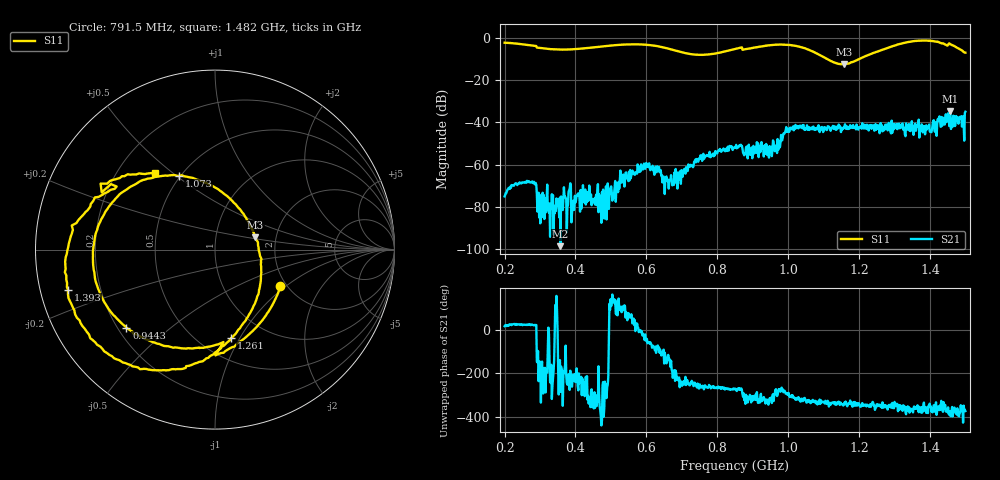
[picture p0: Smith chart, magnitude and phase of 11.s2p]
! NanoVNA-App
! Date: 2024-06-25 16:53:06
! Start: 200MHz Stop: 1.5GHz Points: 801
! S-Parameter data: F S11 S21 S12 S22
# Hz S RI R 50
!  Frequency  S11_Real  S11_Imag  S21_Real  S21_Imag  S12_Real  S12_Imag  S22_Real  S22_Imag
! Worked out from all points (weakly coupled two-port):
!   801 points, 200 MHz to 1.5 GHz, reference 50 ohm
!   highest |S21| = -34.69 dB at 1.458 GHz (marker M1); lowest = -98.6 dB at 357.6 MHz (marker M2)
!   lowest |S11| = -12.6 dB at 1.157 GHz (marker M3), VSWR 1.61, Z = 78 + j11.3 ohm
!   |S11| at or under -10 dB: 1.109 GHz to 1.201 GHz (92.45 MHz wide, 8 % of centre)
!   S12 and S22 are empty: the file has one direction only
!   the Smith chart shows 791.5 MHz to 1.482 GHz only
!   S11 on the Smith chart (normalised r, x): 791.5 MHz: 1.85, -0.92; 944.2 MHz: 0.23, -0.36; 1.073 GHz: 0.49, +0.51; 1.261 GHz: 0.70, -0.92; 1.393 GHz: 0.08, -0.13; 1.482 GHz: 0.36, +0.43
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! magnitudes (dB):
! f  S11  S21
! 200 MHz  -2.4  -75.0
! 273.1 MHz  -3.6  -68.4
! 299.1 MHz  -4.9  -77.6
! 357.6 MHz  -5.6  -98.6
! 417.8 MHz  -5.1  -78.7
! 487.6 MHz  -3.9  -85.9
! 581.9 MHz  -3.2  -60.9
! 633.9 MHz  -4.1  -61.5
! 669.6 MHz  -5.5  -65.0
! 791.5 MHz  -7.6  -54.8
! 850 MHz  -5.4  -51.7
! 944.2 MHz  -3.6  -53.1
! 999.5 MHz  -3.4  -43.2
! 1.068 GHz  -6.4  -42.3
! 1.073 GHz  -6.8  -42.9
! 1.157 GHz  -12.6  -42.2
! 1.261 GHz  -6.0  -40.4
! 1.284 GHz  -4.6  -40.3
! 1.393 GHz  -1.4  -42.6
! 1.458 GHz  -3.1  -34.7
! 1.482 GHz  -5.3  -37.7
! 1.5 GHz  -7.1  -35.0
